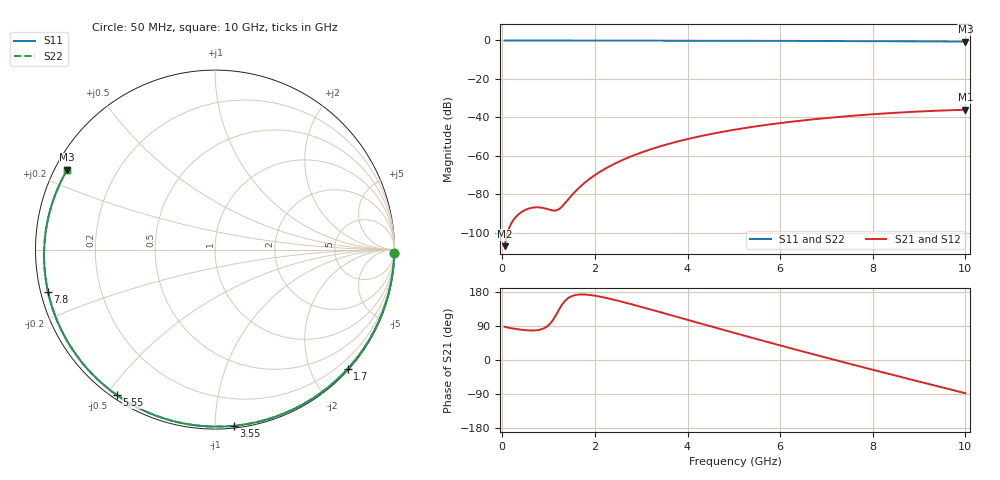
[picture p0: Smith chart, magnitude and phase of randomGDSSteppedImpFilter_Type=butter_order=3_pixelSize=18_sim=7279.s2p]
! freq	dB(S11)	phase(S11)	dB(S12)	phase(S12)
!  dB(S21)	phase(S21)	dB(S22)	phase(S22)
!S-par simulation data
#  GHz  S  DB  R 50
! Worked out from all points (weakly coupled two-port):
!   200 points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, 50 MHz to 10 GHz, reference 50 ohm
!   highest |S21| = -36.00 dB at 10 GHz (marker M1); lowest = -106.8 dB at 50 MHz (marker M2)
!   lowest |S11| = -0.6 dB at 10 GHz (marker M3), VSWR 30.18, Z = 1.76 + j12.6 ohm
!   |S11| at or under -10 dB: nowhere
!   |S22| runs from -0.6 to 0.0 dB; largest |S21 - S12| = 0
!   S11 on the Smith chart (normalised r, x): 50 MHz: 2, -94; 1.7 GHz: 0.02, -2.61; 3.55 GHz: 0.01, -1.11; 5.55 GHz: 0.01, -0.53; 7.8 GHz: 0.02, -0.12; 10 GHz: 0.04, +0.25
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0.05  -0.00 -1.2  -106.84 88.0  -106.84 88.0  -0.00 -1.2
0.4  -0.02 -10.0  -89.36 80.1  -89.36 80.1  -0.02 -10.0
0.75  -0.02 -18.8  -86.66 78.6  -86.66 78.6  -0.02 -18.8
1.5  -0.05 -37.1  -80.44 168.4  -80.44 168.4  -0.05 -37.1
1.55  -0.05 -38.3  -79.12 170.5  -79.12 170.5  -0.05 -38.3
1.7  -0.05 -41.9  -75.56 172.9  -75.56 172.9  -0.05 -41.9
1.75  -0.05 -43.1  -74.50 172.9  -74.50 172.9  -0.05 -43.1
2.05  -0.06 -50.2  -69.13 168.6  -69.13 168.6  -0.06 -50.2
2.45  -0.08 -59.5  -63.74 157.9  -63.74 157.9  -0.08 -59.5
2.9  -0.09 -69.6  -59.10 143.5  -59.10 143.5  -0.09 -69.6
3.4  -0.10 -80.6  -55.06 126.6  -55.06 126.6  -0.10 -80.6
3.55  -0.11 -83.8  -54.02 121.5  -54.02 121.5  -0.11 -83.8
4.3  -0.14 -99.4  -49.61 95.7  -49.61 95.7  -0.14 -99.4
5.05  -0.17 -114.3  -46.22 70.2  -46.22 70.2  -0.17 -114.4
5.55  -0.20 -124.0  -44.36 53.4  -44.36 53.4  -0.20 -124.0
6.15  -0.23 -135.3  -42.47 33.5  -42.47 33.5  -0.23 -135.3
6.7  -0.27 -145.6  -41.00 15.6  -41.00 15.6  -0.27 -145.6
7.25  -0.31 -155.7  -39.75 -2.1  -39.75 -2.1  -0.31 -155.7
7.8  -0.36 -165.9  -38.68 -19.5  -38.68 -19.5  -0.36 -165.9
8.35  -0.41 -176.2  -37.77 -36.7  -37.77 -36.7  -0.41 -176.2
9.2  -0.49 167.6  -36.68 -63.1  -36.68 -63.1  -0.49 167.6
10  -0.58 151.6  -36.00 -87.7  -36.00 -87.7  -0.58 151.6
